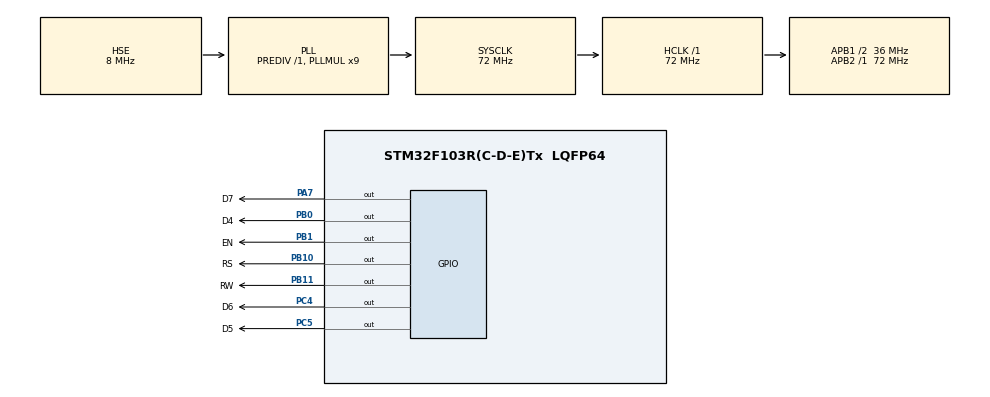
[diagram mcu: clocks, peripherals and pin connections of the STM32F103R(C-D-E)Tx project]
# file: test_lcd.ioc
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Mcu.Family=STM32F1
Mcu.Name=STM32F103R(C-D-E)Tx
Mcu.Package=LQFP64
NVIC.PriorityGroup=NVIC_PRIORITYGROUP_4
PA13.Mode=Serial_Wire
PA13.Signal=SYS_JTMS-SWDIO
PA14.Mode=Serial_Wire
PA14.Signal=SYS_JTCK-SWCLK
PA7.GPIO_Label=D7
PA7.Signal=GPIO_Output
PB0.GPIO_Label=D4
PB0.Signal=GPIO_Output
PB1.GPIO_Label=EN
PB1.Signal=GPIO_Output
PB10.GPIO_Label=RS
PB10.Signal=GPIO_Output
PB11.GPIO_Label=RW
PB11.Signal=GPIO_Output
PC4.GPIO_Label=D6
PC4.Signal=GPIO_Output
PC5.GPIO_Label=D5
PC5.Signal=GPIO_Output
PD0-OSC_IN.Mode=HSE-External-Oscillator
PD0-OSC_IN.Signal=RCC_OSC_IN
PD1-OSC_OUT.Mode=HSE-External-Oscillator
PD1-OSC_OUT.Signal=RCC_OSC_OUT
ProjectManager.HeapSize=0x200
ProjectManager.StackSize=0x400
ProjectManager.TargetToolchain=MDK-ARM V5.32
RCC.AHBFreq_Value=72000000
RCC.APB1CLKDivider=RCC_HCLK_DIV2
RCC.APB1Freq_Value=36000000
RCC.APB1TimFreq_Value=72000000
RCC.APB2Freq_Value=72000000
RCC.APB2TimFreq_Value=72000000
RCC.HCLKFreq_Value=72000000
RCC.PLLMUL=RCC_PLL_MUL9
RCC.PLLSourceVirtual=RCC_PLLSOURCE_HSE
RCC.SYSCLKFreq_VALUE=72000000
RCC.SYSCLKSource=RCC_SYSCLKSOURCE_PLLCLK
RCC.USBFreq_Value=72000000
board=custom

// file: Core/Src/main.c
/* USER CODE BEGIN Header */
/**
  ******************************************************************************
  * @file           : main.c
  * @brief          : Main program body
  ******************************************************************************
  * @attention
  *
  * Copyright (c) 2022 STMicroelectronics.
  * All rights reserved.
  *
  * This software is licensed under terms that can be found in the LICENSE file
  * in the root directory of this software component.
  * If no LICENSE file comes with this software, it is provided AS-IS.
  *
  ******************************************************************************
  */
/* USER CODE END Header */
#include "main.h"

/* USER CODE BEGIN Includes */
#include "string.h"
/* USER CODE END Includes */

void SystemClock_Config(void);
static void MX_GPIO_Init(void);

/* USER CODE BEGIN 0 */
void lcd_busy(void);
void write_to_lcd_4bits(uint8_t rs, uint8_t data)
{
	HAL_GPIO_WritePin(RS_GPIO_Port, RS_Pin, rs);
	HAL_GPIO_WritePin(RW_GPIO_Port, RW_Pin, 0);
	HAL_GPIO_WritePin(EN_GPIO_Port, EN_Pin, 1);

	HAL_GPIO_WritePin(D7_GPIO_Port, D7_Pin, ((data>>3)&0x01));
	HAL_GPIO_WritePin(D6_GPIO_Port, D6_Pin, ((data>>2)&0x01));
	HAL_GPIO_WritePin(D5_GPIO_Port, D5_Pin, ((data>>1)&0x01));
	HAL_GPIO_WritePin(D4_GPIO_Port, D4_Pin, ((data>>0)&0x01));

	for(int i = 0; i < 72; i++)
	{
		__asm("NOP");
	}

	HAL_GPIO_WritePin(EN_GPIO_Port, EN_Pin, 0);
	lcd_busy();
}

void send_command(uint8_t data)
{
	write_to_lcd_4bits(0, (data>>4)&0x0f);
	write_to_lcd_4bits (0, (data>>0)&0x0f);
}

void display_lcd(uint8_t data)
{
	write_to_lcd_4bits(1, (data>>4)&0x0f);
	write_to_lcd_4bits (1, (data>>0)&0x0f);
}

void display_text(char *data)
{
	uint8_t j;
	for(j=0; j<strlen(data); j++)
	{
		display_lcd(data[j]);
	}
}

void  lcd_clear()
{
	send_command(0x01);
	lcd_busy();
}

void set_cursor(uint8_t row, uint8_t col)
{
	uint8_t temp;
	switch(row)
	{
		case 0:
			temp = col|0x80;
		  break;
		case 1:
			temp = col|0xC0;
		  break;
		default:
			temp = col|0x80;
	}
	send_command(temp);
}

void lcd_config()
{
	send_command(0x28); //LCD 4bit, 2-line, 5x8 hieu 2
	lcd_busy();
	send_command(0x28); //LCD 4bit, 2-line, 5x8 hieu 8
	lcd_busy();
	send_command(0x0f);
	lcd_busy();
	send_command(0x06);
	lcd_busy();
	send_command(0x01);
	lcd_busy();
}

void lcd_busy(void)
{
	uint8_t busy_flag_copy;
	GPIO_InitTypeDef GPIO_InitStruct = {0};
	GPIO_InitStruct.Pin = GPIO_PIN_5;
  GPIO_InitStruct.Mode = GPIO_MODE_INPUT;
  GPIO_InitStruct.Pull = GPIO_NOPULL;
  HAL_GPIO_Init(GPIOA, &GPIO_InitStruct);

	HAL_GPIO_WritePin(RS_GPIO_Port, RS_Pin, 0);
	HAL_GPIO_WritePin(RW_GPIO_Port, RW_Pin, 1);
	do{
		busy_flag_copy = 0;
		HAL_GPIO_WritePin(EN_GPIO_Port, EN_Pin, 1);
		for(int i = 0; i < 72; i++);

		busy_flag_copy = HAL_GPIO_ReadPin(GPIOA, GPIO_PIN_5);

		HAL_GPIO_WritePin(EN_GPIO_Port, EN_Pin, 0);
		for(int i = 0; i < 72; i++);

		HAL_GPIO_WritePin(EN_GPIO_Port, EN_Pin, 1);
		for(int i = 0; i < 72; i++);

		HAL_GPIO_WritePin(EN_GPIO_Port, EN_Pin, 0);
		for(int i = 0; i < 72; i++);
	}while(busy_flag_copy);
	HAL_GPIO_WritePin(RW_GPIO_Port, RW_Pin, 0);
	GPIO_InitStruct.Pin = GPIO_PIN_5;
  GPIO_InitStruct.Mode = GPIO_MODE_OUTPUT_PP;
  GPIO_InitStruct.Pull = GPIO_NOPULL;
  GPIO_InitStruct.Speed = GPIO_SPEED_FREQ_LOW;
  HAL_GPIO_Init(GPIOA, &GPIO_InitStruct);
}

/* USER CODE END 0 */

int main(void)
{

  /* MCU Configuration--------------------------------------------------------*/

  /* Reset of all peripherals, Initializes the Flash interface and the Systick. */
  HAL_Init();

  /* Configure the system clock */
  SystemClock_Config();

  /* Initialize all configured peripherals */
  MX_GPIO_Init();
  /* USER CODE BEGIN 2 */
	lcd_config();
  /* USER CODE END 2 */

  /* Infinite loop */
  while (1)
  {

    /* USER CODE BEGIN 3 */
		set_cursor(0,0);
		display_text("TRAN CONG HOA");

  }
  /* USER CODE END 3 */
}

void SystemClock_Config(void)
{
  RCC_OscInitTypeDef RCC_OscInitStruct = {0};
  RCC_ClkInitTypeDef RCC_ClkInitStruct = {0};

  /** Initializes the RCC Oscillators according to the specified parameters
  * in the RCC_OscInitTypeDef structure.
  */
  RCC_OscInitStruct.OscillatorType = RCC_OSCILLATORTYPE_HSE;
  RCC_OscInitStruct.HSEState = RCC_HSE_ON;
  RCC_OscInitStruct.HSEPredivValue = RCC_HSE_PREDIV_DIV1;
  RCC_OscInitStruct.HSIState = RCC_HSI_ON;
  RCC_OscInitStruct.PLL.PLLState = RCC_PLL_ON;
  RCC_OscInitStruct.PLL.PLLSource = RCC_PLLSOURCE_HSE;
  RCC_OscInitStruct.PLL.PLLMUL = RCC_PLL_MUL9;
  if (HAL_RCC_OscConfig(&RCC_OscInitStruct) != HAL_OK)
  {
    Error_Handler();
  }

  /** Initializes the CPU, AHB and APB buses clocks
  */
  RCC_ClkInitStruct.ClockType = RCC_CLOCKTYPE_HCLK|RCC_CLOCKTYPE_SYSCLK
                              |RCC_CLOCKTYPE_PCLK1|RCC_CLOCKTYPE_PCLK2;
  RCC_ClkInitStruct.SYSCLKSource = RCC_SYSCLKSOURCE_PLLCLK;
  RCC_ClkInitStruct.AHBCLKDivider = RCC_SYSCLK_DIV1;
  RCC_ClkInitStruct.APB1CLKDivider = RCC_HCLK_DIV2;
  RCC_ClkInitStruct.APB2CLKDivider = RCC_HCLK_DIV1;

  if (HAL_RCC_ClockConfig(&RCC_ClkInitStruct, FLASH_LATENCY_2) != HAL_OK)
  {
    Error_Handler();
  }
}

static void MX_GPIO_Init(void)
{
  GPIO_InitTypeDef GPIO_InitStruct = {0};

  /* GPIO Ports Clock Enable */
  __HAL_RCC_GPIOD_CLK_ENABLE();
  __HAL_RCC_GPIOA_CLK_ENABLE();
  __HAL_RCC_GPIOC_CLK_ENABLE();
  __HAL_RCC_GPIOB_CLK_ENABLE();

  /*Configure GPIO pin Output Level */
  HAL_GPIO_WritePin(GPIOA, GPIO_PIN_7, GPIO_PIN_RESET);

  /*Configure GPIO pin Output Level */
  HAL_GPIO_WritePin(GPIOC, GPIO_PIN_4|GPIO_PIN_5, GPIO_PIN_RESET);

  /*Configure GPIO pin Output Level */
  HAL_GPIO_WritePin(GPIOB, GPIO_PIN_0|GPIO_PIN_1|GPIO_PIN_10|GPIO_PIN_11, GPIO_PIN_RESET);

  /*Configure GPIO pin : PA7 */
  GPIO_InitStruct.Pin = GPIO_PIN_7;
  GPIO_InitStruct.Mode = GPIO_MODE_OUTPUT_PP;
  GPIO_InitStruct.Pull = GPIO_NOPULL;
  GPIO_InitStruct.Speed = GPIO_SPEED_FREQ_LOW;
  HAL_GPIO_Init(GPIOA, &GPIO_InitStruct);

  /*Configure GPIO pins : PC4 PC5 */
  GPIO_InitStruct.Pin = GPIO_PIN_4|GPIO_PIN_5;
  GPIO_InitStruct.Mode = GPIO_MODE_OUTPUT_PP;
  GPIO_InitStruct.Pull = GPIO_NOPULL;
  GPIO_InitStruct.Speed = GPIO_SPEED_FREQ_LOW;
  HAL_GPIO_Init(GPIOC, &GPIO_InitStruct);

  /*Configure GPIO pins : PB0 PB1 PB10 PB11 */
  GPIO_InitStruct.Pin = GPIO_PIN_0|GPIO_PIN_1|GPIO_PIN_10|GPIO_PIN_11;
  GPIO_InitStruct.Mode = GPIO_MODE_OUTPUT_PP;
  GPIO_InitStruct.Pull = GPIO_NOPULL;
  GPIO_InitStruct.Speed = GPIO_SPEED_FREQ_LOW;
  HAL_GPIO_Init(GPIOB, &GPIO_InitStruct);

}

void Error_Handler(void)
{
  __disable_irq();
  while (1)
  {
  }
}
